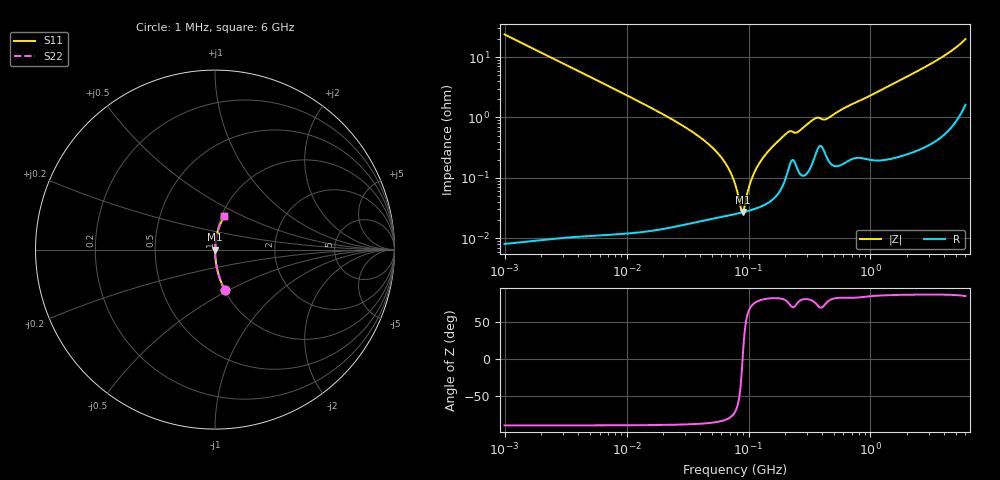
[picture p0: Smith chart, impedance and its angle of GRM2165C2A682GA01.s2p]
!Murata Part Number: GRM2165C2A682GA01
!These Parameters are Measured in Series Mode Connection
!Data Generated on Mar 30, 2021
!  o--ll--o
!Port1  Port2
!  o------o
!Operation Temp=25[degC], DC Bias Voltage=0[V]
!Freq. Start=1000[kHz] Stop=6[GHz] 401[Steps]
# Hz S RI R 50
!Freq.(Hz) S11(Real) S11(Imag) S21(Real) S21(Imag) S12(Real) S12(Imag) S22(Real) S22(Imag)
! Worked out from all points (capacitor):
!   401 points, 1 MHz to 6 GHz, reference 50 ohm
!   read as one part in series: C = 6.71 nF near 1.044 MHz
!   lowest |Z| = 27.3 mohm at 90.2 MHz (marker M1)
!   series resonance near 89.4 MHz, so ESL is about 470 pH
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1000000  0.0533 -0.2245  0.9467 0.2245  0.9467 0.2245  0.0533 -0.2245
4293785  0.00313 -0.0549  0.9969 0.0549  0.9969 0.0549  0.00313 -0.0549
1.843659e7  0.000289 -0.0123  0.9997 0.0123  0.9997 0.0123  0.000289 -0.0123
3.389622e7  0.000212 -0.00595  0.9998 0.00595  0.9998 0.00595  0.000212 -0.00595
5.013812e7  0.000219 -0.00322  0.9998 0.00322  0.9998 0.00322  0.000219 -0.00322
6.508975e7  0.000236 -0.0017  0.9998 0.0017  0.9998 0.0017  0.000236 -0.0017
7.100585e7  0.000243 -0.00122  0.9998 0.00122  0.9998 0.00122  0.000243 -0.00122
7.745967e7  0.000251 -0.000758  0.9997 0.000758  0.9997 0.000758  0.000251 -0.000758
8.635799e7  0.000263 -0.000183  0.9997 0.000183  0.9997 0.000183  0.000263 -0.000183
9.019724e7  0.000269 4.7e-05  0.9997 -4.7e-05  0.9997 -4.7e-05  0.000269 4.7e-05
9.420718e7  0.000275 0.000277  0.9997 -0.000277  0.9997 -0.000277  0.000275 0.000277
1.027698e8  0.000289 0.000742  0.9997 -0.000742  0.9997 -0.000742  0.000289 0.000742
1.096987e8  0.000302 0.0011  0.9997 -0.0011  0.9997 -0.0011  0.000302 0.0011
1.363501e8  0.000365 0.00234  0.9996 -0.00234  0.9996 -0.00234  0.000365 0.00234
2.061188e8  0.00116 0.00539  0.9988 -0.00539  0.9988 -0.00539  0.00116 0.00539
2.506837e8  0.00145 0.00549  0.9985 -0.00549  0.9985 -0.00549  0.00145 0.00549
3.325952e8  0.00178 0.00879  0.9982 -0.00879  0.9982 -0.00879  0.00178 0.00879
3.628252e8  0.00285 0.00947  0.9971 -0.00947  0.9971 -0.00947  0.00285 0.00947
4.412715e8  0.0022 0.00928  0.9978 -0.00928  0.9978 -0.00928  0.0022 0.00928
1.428092e9  0.00315 0.0333  0.9969 -0.0333  0.9969 -0.0333  0.00315 0.0333
3.5601e9  0.0123 0.089  0.9877 -0.089  0.9877 -0.089  0.0123 0.089
6e9  0.052 0.185  0.948 -0.185  0.948 -0.185  0.052 0.185
